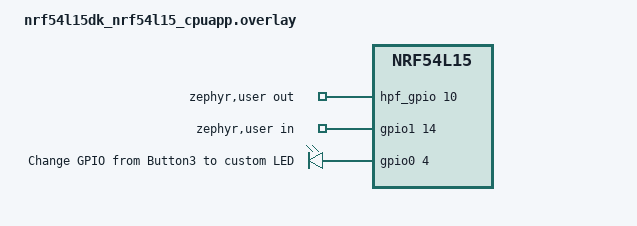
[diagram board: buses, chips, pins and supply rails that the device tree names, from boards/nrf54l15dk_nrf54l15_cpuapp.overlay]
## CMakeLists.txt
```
#
# Copyright (c) 2026 Nordic Semiconductor ASA
#
# SPDX-License-Identifier: LicenseRef-Nordic-5-Clause
#

cmake_minimum_required(VERSION 3.20.0)

find_package(Zephyr REQUIRED HINTS $ENV{ZEPHYR_BASE})
project(hpf_gpio_idle)

target_sources(app PRIVATE src/main.c)
```

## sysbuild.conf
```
SB_CONFIG_HPF=y
SB_CONFIG_HPF_GPIO=y
```

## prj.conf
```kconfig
CONFIG_GPIO=y

CONFIG_BOOT_BANNER=n
CONFIG_NCS_BOOT_BANNER=n
CONFIG_ASSERT=y

# Enable for debugging purposes only
CONFIG_PRINTK=y
CONFIG_LOG=y
CONFIG_CONSOLE=y
CONFIG_UART_CONSOLE=y
CONFIG_SERIAL=y

CONFIG_PM_DEVICE=y
CONFIG_PM_DEVICE_RUNTIME=y
CONFIG_POWEROFF=y
```

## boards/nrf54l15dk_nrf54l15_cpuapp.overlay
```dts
/*
 * Copyright (c) 2026 Nordic Semiconductor ASA
 *
 * SPDX-License-Identifier: LicenseRef-Nordic-5-Clause
 */

/* Test requires GPIO loopback:
 * - between P2.10 and P1.14,
 */

/delete-node/ &button3;

/ {
	zephyr,user {
		out-gpios = <&hpf_gpio 10 GPIO_ACTIVE_HIGH>;
		in-gpios = <&gpio1 14 GPIO_ACTIVE_HIGH>;
	};

	/* PPK takes cpuapp active/sleep state from P0.04
	 * which is Button3 in the board definition.
	 * Moreover, Buttons have (GPIO_PULL_UP | GPIO_ACTIVE_LOW).
	 */
	aliases {
		led = &led_sw3;
		/delete-property/ sw3;
	};

	leds {
		led_sw3: led_sw3 {
			gpios = <&gpio0 4 GPIO_ACTIVE_HIGH>;
			label = "Change GPIO from Button3 to custom LED";
		};
	};
};

&gpiote20 {
	status = "okay";
};

&gpio1 {
	status = "okay";
};
```

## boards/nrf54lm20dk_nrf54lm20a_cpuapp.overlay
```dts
/*
 * Copyright (c) 2026 Nordic Semiconductor ASA
 *
 * SPDX-License-Identifier: LicenseRef-Nordic-5-Clause
 */

/* Test requires GPIO loopback:
 * - between P2.06 and P3.00,
 */

/delete-node/ &led1;

/ {
	zephyr,user {
		out-gpios = <&hpf_gpio 6 GPIO_ACTIVE_HIGH>;
		in-gpios = <&gpio3 0 GPIO_ACTIVE_HIGH>;
	};

	aliases {
		led = &led0;
		/delete-property/ led1;
	};
};

&gpiote20 {
	status = "okay";
};

&gpio3 {
	status = "okay";
};
```

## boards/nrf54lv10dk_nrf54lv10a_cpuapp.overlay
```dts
/*
 * Copyright (c) 2026 Nordic Semiconductor ASA
 *
 * SPDX-License-Identifier: LicenseRef-Nordic-5-Clause
 */

/* Test requires GPIO loopback:
 * - between P1.20 and P1.21,
 */

/delete-node/ &led1;

/ {
	zephyr,user {
		out-gpios = <&hpf_gpio 20 GPIO_ACTIVE_HIGH>;
		in-gpios = <&gpio1 21 GPIO_ACTIVE_HIGH>;
	};

	aliases {
		led = &led0;
		/delete-property/ led1;
	};
};

&gpiote20 {
	status = "okay";
};

&gpio1 {
	status = "okay";
};
```

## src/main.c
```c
/*
 * Copyright (c) 2026 Nordic Semiconductor ASA
 *
 * SPDX-License-Identifier: LicenseRef-Nordic-5-Clause
 */

#include <zephyr/logging/log.h>
LOG_MODULE_REGISTER(hpf_gpio, LOG_LEVEL_INF);

#include <zephyr/kernel.h>
#include <zephyr/drivers/gpio.h>

#if !DT_NODE_HAS_PROP(DT_PATH(zephyr_user), out_gpios)
#error "Unsupported board: out_gpios are not defined"
#endif

#if !DT_NODE_HAS_PROP(DT_PATH(zephyr_user), in_gpios)
#error "Unsupported board: in_gpios are not defined"
#endif

/* Delay after setting GPIO ouputs. It allows signals to settle. */
#define PROPAGATION_DELAY_MS K_MSEC(1U)
#define SLEEP_TIME_MS 1000
#define ACTIVE_TIME_MS 1000

const struct gpio_dt_spec out_pin = GPIO_DT_SPEC_GET(DT_PATH(zephyr_user), out_gpios);
const struct gpio_dt_spec in_pin = GPIO_DT_SPEC_GET(DT_PATH(zephyr_user), in_gpios);

static const struct gpio_dt_spec led = GPIO_DT_SPEC_GET(DT_ALIAS(led), gpios);

K_SEM_DEFINE(timer_expired_sem, 0, 1);

static void timer_handler(struct k_timer *dummy)
{
	(void)dummy;

	k_sem_give(&timer_expired_sem);
}

K_TIMER_DEFINE(timer, timer_handler, NULL);

/* Check that input GPIO state match with input parameter 'value'. */
static void check_input(uint32_t value)
{
	bool current;
	bool expected;

	LOG_DBG("check_input(%u)", value);

	/* Wait a bit to stabilize logic level. */
	k_sleep(PROPAGATION_DELAY_MS);

	current = gpio_pin_get_dt(&in_pin);
	expected = value & BIT(0);
	LOG_DBG("check_input: current: %u, expected: %u", current, expected);
	__ASSERT(current == expected, "IN = %u, while expected %u", current, expected);
}

int main(void)
{
	int ret;

	LOG_INF("hpf_gpio test on %s", CONFIG_BOARD_TARGET);
#if defined(CONFIG_GPIO_HPF_GPIO_BACKEND_ICMSG)
	LOG_INF("Test uses ICmsg backend");
#elif defined(CONFIG_GPIO_HPF_GPIO_BACKEND_ICBMSG)
	LOG_INF("Test uses ICBmsg backend");
#elif defined(CONFIG_GPIO_HPF_GPIO_BACKEND_MBOX)
	LOG_INF("Test uses MBOX backend");
#else
	LOG_INF("Unknown backend");
#endif
	LOG_INF("===================================================================");

	ret = gpio_is_ready_dt(&in_pin);
	__ASSERT(ret, "IN is not ready (%s)", in_pin.port->name);
	ret = gpio_is_ready_dt(&out_pin);
	__ASSERT(ret, "OUT is not ready");
	ret = gpio_is_ready_dt(&led);
	__ASSERT(ret, "LED is not ready");

	ret = gpio_pin_configure_dt(&in_pin, GPIO_INPUT);
	__ASSERT(ret == 0, "IN config failed (%d)", ret);
	ret = gpio_pin_configure_dt(&out_pin, GPIO_OUTPUT);
	__ASSERT(ret == 0, "OUT config failed (%d)", ret);
	LOG_INF("IN and OUT were configured");
	ret = gpio_pin_configure_dt(&led, GPIO_OUTPUT_INACTIVE);
	__ASSERT(ret == 0, "LED configuration failed (%d)", ret);

	while (1) {
		k_timer_start(&timer, K_MSEC(ACTIVE_TIME_MS), K_NO_WAIT);
		gpio_pin_set_dt(&led, 1);

		/* Active state - use HPF GPIO. */
		while (k_sem_take(&timer_expired_sem, K_NO_WAIT) != 0) {
			ret = gpio_pin_set_dt(&out_pin, 1);
			__ASSERT(ret == 0, "OUT set failed (%d)", ret);
			check_input(1);

			ret = gpio_pin_set_dt(&out_pin, 0);
			__ASSERT(ret == 0, "OUT clear failed (%d)", ret);
			check_input(0);
		}

		gpio_pin_set_dt(&led, 0);
		k_msleep(SLEEP_TIME_MS);
	}
}
```
